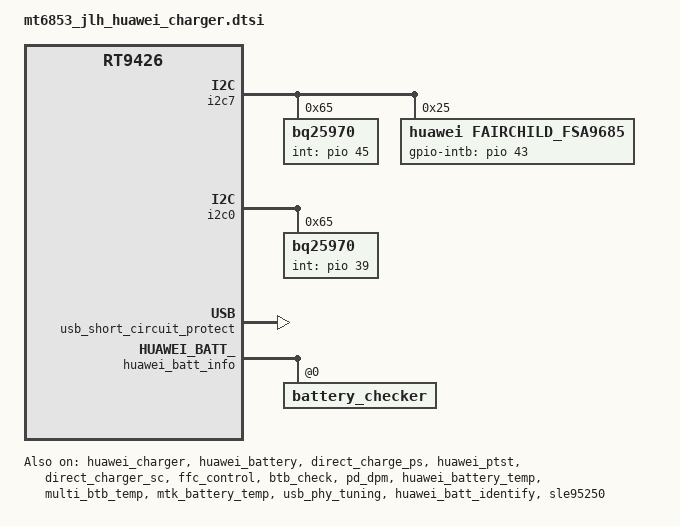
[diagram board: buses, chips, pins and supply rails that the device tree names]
&charger {
	ac_charger_current = <2695000>;
	ac_charger_input_current = <2300000>;
	fcp_charger_current = <2500000>;
	fcp_charger_input_current = <1400000>;
	non_std_ac_charger_current = <1200000>;
	pd_vbus_upper_bound = <9000000>;
	max_charger_voltage = <12000000>;
	bc12_charger = <22>; /* usb switch do bc12 */
	dpm_enable;
	battery_cv = <4445000>;
	iterm = <500000>;
	vbus_max_limit = <11500>;
	jeita_temp_above_t4_cv = <4100000>;
        jeita_temp_t3_to_t4_cv = <4100000>;
        jeita_temp_t2_to_t3_cv = <4445000>;
        jeita_temp_t1_to_t2_cv = <4445000>;
        jeita_temp_t0_to_t1_cv = <4100000>;
        jeita_temp_below_t0_cv = <4100000>;
        jeita_temp_t3_to_t4_cur = <1400000>;
        jeita_temp_t2_to_t3_cur = <2800000>;
        jeita_temp_t1_to_t2_cur = <1200000>;
        jeita_temp_t0_to_t1_cur = <400000>;
	vdpm_buf_limit = <100>;
	vdpm_para =
			"-32767", "4000", "4300", "50",
			"4000", "4200", "4500", "50",
			"4200", "32767", "4600", "50";
	charge_full_design = <3900000>;
};

&pio {
	bq25970_main_irq_pins_default: bq25970_main_irq_pins_default {
		pins_cmd_dat {
			pinmux = <PINMUX_GPIO45__FUNC_GPIO45>;
			slew-rate = <0>;
			bias-pull-up;
		};
	};
	bq25970_aux_irq_pins_default: bq25970_aux_irq_pins_default {
		pins_cmd_dat {
			pinmux = <PINMUX_GPIO39__FUNC_GPIO39>;
			slew-rate = <0>;
			bias-pull-up;
		};
	};
	fsa9685_irq_pins_default: fsa9685_irq_pins_default {
		pins_cmd_dat {
			pinmux = <PINMUX_GPIO43__FUNC_GPIO43>;
			slew-rate = <0>;
			bias-pull-up;
		};
	};
	rt9426_irq_pins_default: rt9426_irq_pins_default {
		pins_cmd_dat {
			pinmux = <PINMUX_GPIO41__FUNC_GPIO41>;
			slew-rate = <0>;
			bias-pull-up;
		};
	};
	bq27z561_irq_pins_default: bq27z561_irq_pins_default {
		pins_cmd_dat {
			pinmux = <PINMUX_GPIO41__FUNC_GPIO41>;
			slew-rate = <0>;
			bias-pull-up;
		};
	};
	battct_swi_pins_default: battct_swi_pins_default {
		pins_cmd_dat {
			pinmux = <PINMUX_GPIO46__FUNC_GPIO46>;
			slew-rate = <0>;
			bias-disabled;
			input-enable;
			drive-strength = <3>;
		};
	};
	battct_id_pins_default: battct_id_pins_default {
		pins_cmd_dat {
			pinmux = <PINMUX_GPIO48__FUNC_GPIO48>;
			slew-rate = <0>;
			bias-disabled;
			output-high;
		};
	};
	cw2217_irq_pins_default: cw2217_irq_pins_default {
		pins_cmd_dat {
			pinmux = <PINMUX_GPIO41__FUNC_GPIO41>;
			slew-rate = <0>;
			bias-pull-up;
		};
	};
};

&i2c7 {
	bq25970@65 {
		compatible = "bq25970";
		pinctrl-names = "default";
		pinctrl-0 = <&bq25970_main_irq_pins_default>;
		gpio_int = <&pio 45 0x0>;
		switching_frequency = <675>;
		sense_r_config = <20>;
		sense_r_actual = <10>;
		reg = <0x65>;
		status = "ok";
	};

	bq25970@66 {
		compatible = "bq25970";
		pinctrl-names = "default";
		pinctrl-0 = <&bq25970_main_irq_pins_default>;
		gpio_int = <&pio 45 0x0>;
		switching_frequency = <675>;
		sense_r_config = <20>;
		sense_r_actual = <10>;
		reg = <0x66>;
		status = "disabled";
	};

	fairchild_fsa9685@25 {
		compatible = "huawei,fairchild_fsa9685";
		reg = <0x25>;
		pinctrl-names = "default";
		pinctrl-0 = <&fsa9685_irq_pins_default>;
		fairchild_fsa9685,gpio-intb = <&pio 43 0x0>;
		usbid-enable = <0>;
		fcp_support = <1>;
		scp_support = <1>;
		mhl_detect_disable = <1>;
		power_by_5v = <1>;
		close_bc12 = <1>;
		need_other_bc12 = <0>;
		ignore_force_ac = <1>;
		/* for rt8979 */
		interrupt-names = "vbus_change", "device_change", "detach",
			"attach";
		/* auto_switch; */
		scp;
		dcd;
		dcd_timeout = <600>;  /* ms */
		intb_watchdog = <1000>;  /* ms */
		ovp_sel = <14500000>;  /* uV */
		status = "ok";
	};
	bq27z561_fg@55 {
		reg = <0x55>;
		compatible = "huawei,bq27z561";
		status = "disabled";
		pinctrl-names = "default";
		pinctrl-0 = <&bq27z561_irq_pins_default>;
		bq27z561,gpio-intb = <&pio 41 0x0>;
		ntc_compensation_is = <1>;
		ntc_temp_compensation_para =
			"11000", "140",
			"10000", "120",
			"9000", "100",
			"8000", "80",
			"7000", "60",
			"6000", "50",
			"5000", "40",
			"3000", "20",
			"2000", "10";
		batt_default_name = "ti_BCYCAE_4445_3900mah_BT162";
		#include "ti_BCYCAE_4445_3900mah_BT162.dtsi"
	};
	rt9426_battery@55{
		reg = <0x55>;
		rt,bat_name = "rt_battery";
		compatible = "richtek,rt9426";
		pinctrl-names = "default";
		pinctrl-0 = <&rt9426_irq_pins_default>;
		rt9426,gpio-intb = <&pio 41 0x0>;
		rt_config_ver = <8>;
		ntc_compensation_is = <1>;
		ntc_temp_compensation_para =
			"11000", "140",
			"10000", "120",
			"9000", "100",
			"8000", "80",
			"7000", "60",
			"6000", "50",
			"5000", "40",
			"3000", "20",
			"2000", "10";
		status = "disabled";
		battery0{
			batt_name = "BITCAE";
			#include "rt9426_BITCAE_4v48_3900mah_BT212.dtsi"
		};
		battery1{
			batt_name = "BCYCAE";
			#include "rt9426_BCYCAE_4v48_3900mah_BT212.dtsi"
		};
	};
	cw2217_fg@65 {
		reg = <0x65>;
		compatible = "cellwise,cw2217";
		status = "disabled";
		design_capacity = <3700>;
		pinctrl-names = "default";
		pinctrl-0 = <&cw2217_irq_pins_default>;
		cw2217,gpio-intb = <&pio 41 0x0>;
		ntc_compensation_is = <0>;
		ntc_temp_compensation_para =
			"11000", "140",
			"10000", "120",
			"9000", "100",
			"8000", "80",
			"7000", "60",
			"6000", "50",
			"5000", "40",
			"3000", "20",
			"2000", "10";
		batt_default_name = "BCYCAE_4445_3700mah_BT167";
		#include "BCYCAE_4445_3700mah_BT167.dtsi"
		#include "BITCAE_4445_3700mah_BT167.dtsi"
	};
};
&i2c0 {
	bq25970@65 {
		compatible = "bq25970";
		pinctrl-names = "default";
		pinctrl-0 = <&bq25970_aux_irq_pins_default>;
		gpio_int = <&pio 39 0x0>;
		ic_role = <1>;
		switching_frequency = <675>;
		sense_r_config = <20>;
		sense_r_actual = <10>;
		reg = <0x65>;
		status = "ok";
	};

	bq25970@66 {
		compatible = "bq25970";
		pinctrl-names = "default";
		pinctrl-0 = <&bq25970_aux_irq_pins_default>;
		gpio_int = <&pio 39 0x0>;
		ic_role = <1>;
		switching_frequency = <675>;
		sense_r_config = <20>;
		sense_r_actual = <10>;
		reg = <0x66>;
		status = "disabled";
	};
};
&huawei_charger {
	compatible = "huawei,charger";
	status = "okay";
};

&huawei_battery {
	compatible = "huawei,battery";
	voltage_max_design = <4430000>;
	use_third_coul = <0>;
	status = "okay";
};

&huawei_power_proxy  {
	status = "disabled";
};
&huawei_power_supply {
	status = "disabled";
};
&battery_core {
	status = "disabled";
};
&battery_fault {
	status = "disabled";
};
&battery_model {
	bat_id_table =
		"BCYCAE", "0", "0", "YA",
		"BITCAE", "0", "0", "IA";
	vbat_max = <4445>;
	design_fcc = <4000>;
	status = "disabled";
};
&battery_ui_capacity {
	status = "disabled";
};

&lk_charger{
	ac_charger_current = <1050000>;
	ac_charger_input_current = <1050000>;
	non_std_ac_charger_current = <1050000>;
	max_charger_voltage = <12000000>;
	is_power_path;
	poweron_charger_enable = <1>;
};

&direct_charge_ps {
	status = "ok";
};

&direct_charger {
	status = "disabled";
};

&huawei_ptst {
	compatible = "huawei,power_test";
	dc_mmi_para = <45 0x01 1 5000 5>;
	status = "ok";
};

&direct_charger_sc {
	use_5A = <1>;
	use_higher_vbat = <1>;
	adaptor_antifake_check_enable = <1>;
	adaptor_antifake_key_index = <2>;
	dc_volt_ratio = <2>;
	max_adaptor_vset = <11000>;
	init_adapter_vset = <8800>;
	delta_err_10v2p25a = <150>;
	vol_err_th = <500>;
	adaptor_leakage_current_th = <600>;
	high_temp_hysteresis = <1>;
	gain_curr_10v2a = <300>;
	gain_curr_10v2p25a = <500>;
	init_delt_vset = <450>;
	vstep = <20>;
	max_dc_bat_vol = <4380>;
	max_current_for_none_standard_cable = <6000>;
	volt_para =
		"4150", "8000", "6000",
		"4250", "6000", "4000",
		"4300", "4000", "2800",
		"4440", "2800", "1200";
	volt_para1 =
		"4260", "12400", "11000",
		"4250", "11000", "8000",
		"4300", "8000", "6000",
		"4380", "6000", "4800",
		"4445", "4800", "1200";
	bat_para =
		"CAE", "10", "20", "volt_para",
		"CAE", "20", "45", "volt_para1",
		"default", "10", "20", "volt_para",
		"default", "20", "45", "volt_para1";
	second_resist_para =
		"0", "250", "0",
		"250", "450", "8000";
	vbat_error =
		"3", "100", "2", "-1",
		"3", "60", "1", "8000";
	current_ratio =
		"3", "6", "16", "2", "-1",
		"3", "9", "13", "1", "8000",
		"0", "9", "13", "0", "0";
	adapter_max_power_time_para =
		"3", "600", "6000",
		"4", "1200", "3000",
		"5", "600", "6000",
		"6", "600", "6000",
		"7", "600", "6000",
		"8", "600", "6000",
		"9", "1200", "3000",
		"10", "1200", "3000",
		"12", "600", "6000",
		"13", "600", "6000",
		"14", "600", "6000",
		"15", "1200", "3000";
	vstep_para =
			"2000", "80";
	compensate_r = <0>;
	cc_cable_detect_enable = <1>;
	cc_unsafe_sc_enable = <1>;
	full_path_res_max = <500>;
	scp_work_on_charger = <1>;
	standard_cable_full_path_res_max = <500>;
	first_cc_stage_timer_in_min = <14>;
	stage_need_to_jump = "-1";
	is_show_ico_first = <1>;
	is_send_cable_type = <0>;
	support_multi_ic = <1>;
	10v4a_cur_para =
		"-32767", "11000", "4000";
	rt_test_para =
		/* first:sc second:mainsc third:auxsc */
		"1200", "50",
		"1200", "50",
		"1200", "50";
	temp_para =
		"-32767", "10", "0",
		"10", "46", "12500",
		"46", "32767", "0";
	resist_para =
		"0", "300", "6000",
		"300", "500", "5000";
	std_resist_para =
		"0", "300", "12500",
		"300", "500", "5000";
	10v2p25a_cur_para =
		"-32767", "5500",  "2000",
		"5500",   "9000",  "2500",
		"9000",   "10000", "2250",
		"10000",  "10500", "2000",
		"10500",  "32767", "1500";
	status = "ok";
};

&ffc_control {
	status = "ok";
	dc_vbat_para =
		"4420", "4420";
};

&btb_check {
	vol_check_para = "1", "1", "2700", "4700", "120", "3", "0";
	temp_check_para = "1", "1", "-40", "80", "10", "3", "0";
	status = "ok";
};

&bat_gm30 {
	bat_para =
		"BCY_CAE", "250000", "350000",
		"BIT_CAE", "830000", "960000";
        ntc_compensation_is = <1>;
        ntc_temp_compensation_para =
		"11000", "140",
		"10000", "120",
		"9000", "100",
		"8000", "80",
		"7000", "60",
		"6000", "50",
		"5000", "40",
		"3000", "20",
		"2000", "10";
	min_fcc = <2590000>;
	max_fcc = <3900000>;
	dlpt_optimization;
	CAR_TUNE_VALUE = <(500)>;
	ACTIVE_TABLE = <(0)>;
	MULTI_BATTERY = <0>;
	#include "BITCAE_4v48_3900mah_BT212.dtsi"
	#include "BCYCAE_4v48_3900mah_BT212.dtsi"
};

&usb_c_pinctrl {
	status = "disabled";
};

&pd_dpm {
	support_analog_audio = <1>;
	status = "ok";
};

&mt6360_pmu {
	mt6360,intr_gpio_num = <10>; /* direct defined GPIO num */
	mt6360,intr_gpio = <&pio 10 0x0>;
};

&mt6360_typec {
	mt6360pd,intr_gpio_num = <9>; /* direct defined GPIO num */
	mt6360pd,intr_gpio = <&pio 9 0x0>;
};

&huawei_battery_temp {
	status = "ok";
};

&multi_btb_temp {
	status = "ok";
	ntc_compensation_is = <1>;
	comp_para =
		"110000", "16000",
		"100000", "13000",
		"90000", "11000",
		"80000", "9000",
		"70000", "7000",
		"60000", "5000",
		"50000", "4000",
		"30000", "2000",
		"20000", "1000";
	sensor-names =
		"mtk_batt_temp", "comp_para",
		"mtk_batt_temp", "comp_para";
};

&mtk_battery_temp {
	v_pullup = <2800>;
	r_pullup = <22000>;
	com_r_fg_value = <5>;
	no_bat_temp_compensate = <0>;
	com_fg_meter_resistance = <100>;
	status = "ok";
};

&power_thermalzone {
	status = "ok";
	sensors {
		sensor1 {
			sensor_name = "mtk_batt_temp";
			ops_name = "mtk_batt_temp";
			adc_channel = <2>;
			ntc_index = <7>;
		};
		sensor2 {
			sensor_name = "cw2217";
			ops_name = "cw2217";
			adc_channel = <0>;
			ntc_index = <5>;
		};
	};
};

&usb_short_circuit_protect {
	uscp_threshold_tusb = <40>;
	open_mosfet_temp = <30>;
	close_mosfet_temp = <10>;
	open_hiz_temp = <30>;
	interval_switch_temp = <15>;
	status = "ok";
};

&usb_phy_tuning {
		h_u2_vrt_ref = <7>;
		h_u2_term_ref = <7>;
		h_u2_enhance = <3>;
		d_u2_vrt_ref = <7>;
		d_u2_term_ref = <7>;
		d_u2_enhance = <3>;
		status = "ok";
};

&huawei_batt_identify {
	pinctrl-names = "default";
	pinctrl-0 = <&battct_id_pins_default>;
	gpios = <&pio 48 0x0>;
	id_voltage_gpiov = <0 1>;
	id_sn_gpiov = <0 0>;
	status = "ok";
};

&huawei_batt_info {
	status = "ok";
	shield_ct_sign = <1>;
	battery_checker@0 {
		matchable = <&sle95250>;
		status = "ok";
	};
};

&sle95250 {
	pinctrl-names = "default";
	pinctrl-0 = <&battct_swi_pins_default>;
	onewire-gpio = <&pio 46 0x0>;
	product_id0 = <1>;
	product_id2 = <3>;
	gpio_sn_mode_val = <0>;
	dip_check = <0>;
	gpio_swi = <46>;
	gpio_id_mode = <48>;
	gpio_swi_drv = <3>;
	status = "ok";
};
